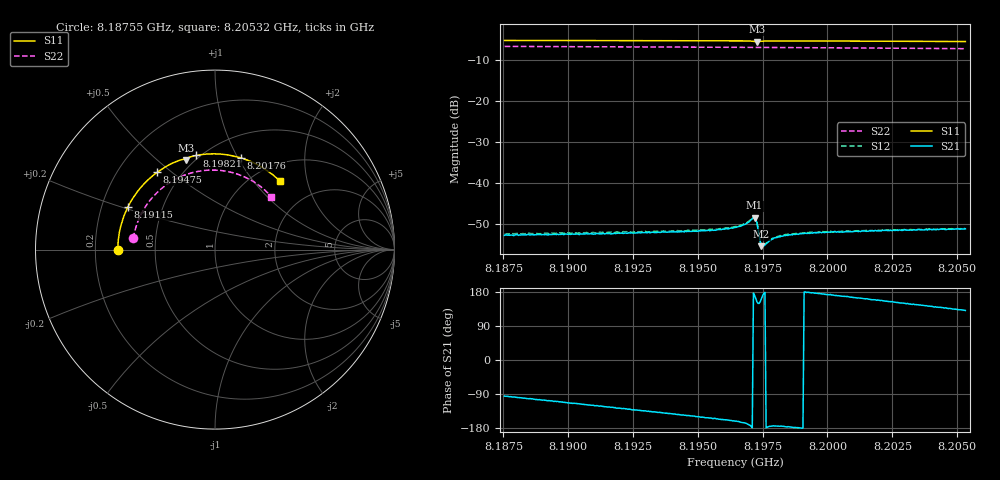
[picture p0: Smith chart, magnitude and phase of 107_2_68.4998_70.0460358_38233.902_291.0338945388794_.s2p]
#  HZ  S  RI  R  50.00
! Rohde & Schwarz Vector Network Analyzer
! Rohde-Schwarz,ZNB20-2Port,1311601062101988,3.16
! Created: UTC 3/20/2024, 5:08:33 PM
! freq[Hz]  re:S11  im:S11  re:S21  im:S21  re:S12  im:S12  re:S22  im:S22
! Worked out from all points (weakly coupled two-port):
!   401 points, 8.18755 GHz to 8.20532 GHz, reference 50 ohm
!   highest |S21| = -48.40 dB at 8.19719 GHz (marker M1); lowest = -55.3 dB at 8.19745 GHz (marker M2)
!   lowest |S11| = -5.6 dB at 8.19728 GHz (marker M3), VSWR 3.19, Z = 22.7 + j31.1 ohm
!   |S11| at or under -10 dB: nowhere
!   |S22| runs from -7.3 to -6.8 dB; largest |S21 - S12| = 0.00021
!   S11 on the Smith chart (normalised r, x): 8.18755 GHz: 0.30, -0.00; 8.19115 GHz: 0.31, +0.21; 8.19475 GHz: 0.37, +0.44; 8.19821 GHz: 0.48, +0.70; 8.20176 GHz: 0.73, +1.03; 8.20532 GHz: 1.30, +1.38
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8.187548e9  -0.5419 -0.00441  -0.000213 -0.00232  -0.000273 -0.00241  -0.4548 0.0623
8.189014e9  -0.5324 0.0976  -0.00065 -0.00229  -0.000707 -0.00239  -0.4353 0.1411
8.190525e9  -0.5025 0.1991  -0.00108 -0.00216  -0.00119 -0.0022  -0.4005 0.2176
8.191147e9  -0.4846 0.2389  -0.00125 -0.00211  -0.0014 -0.00213  -0.3824 0.2471
8.193501e9  -0.389 0.373  -0.00189 -0.00169  -0.00197 -0.00166  -0.294 0.3435
8.194745e9  -0.3231 0.4304  -0.0022 -0.00139  -0.00231 -0.00137  -0.2368 0.383
8.195722e9  -0.2645 0.4675  -0.00246 -0.00112  -0.00254 -0.0011  -0.1877 0.4075
8.196433e9  -0.2187 0.4896  -0.00275 -0.000932  -0.00286 -0.000832  -0.1504 0.4218
8.196789e9  -0.194 0.4988  -0.00306 -0.000766  -0.00315 -0.000673  -0.1312 0.4274
8.1971e9  -0.1698 0.5029  -0.00371 -8.38e-05  -0.00378 4.39e-05  -0.114 0.4317
8.197188e9  -0.163 0.5005  -0.00375 0.00063  -0.00381 0.000809  -0.1091 0.4325
8.197233e9  -0.1615 0.4986  -0.00353 0.00111  -0.00353 0.00128  -0.1066 0.433
8.197277e9  -0.1617 0.4974  -0.00299 0.00147  -0.00299 0.0016  -0.1044 0.4335
8.19741e9  -0.1606 0.5042  -0.00174 0.000814  -0.00174 0.000893  -0.0972 0.4352
8.197455e9  -0.1581 0.5067  -0.00164 0.000533  -0.00168 0.000581  -0.0948 0.4356
8.197544e9  -0.1517 0.5109  -0.00173 0.000141  -0.00178 0.000225  -0.0898 0.4366
8.197899e9  -0.1257 0.5198  -0.0021 -0.000227  -0.00216 -0.000145  -0.0699 0.4396
8.19821e9  -0.1034 0.5248  -0.00226 -0.000218  -0.0023 -0.000128  -0.0525 0.4414
8.19941e9  -0.0183 0.5334  -0.00247 0.00011  -0.00255 0.00025  0.0158 0.4422
8.201764e9  0.1461 0.5104  -0.00246 0.000936  -0.00244 0.00102  0.1463 0.4129
8.202386e9  0.1876 0.4958  -0.00241 0.00117  -0.00234 0.00127  0.179 0.3983
8.205318e9  0.3602 0.3828  -0.00182 0.00213  -0.00174 0.00217  0.3132 0.2955
